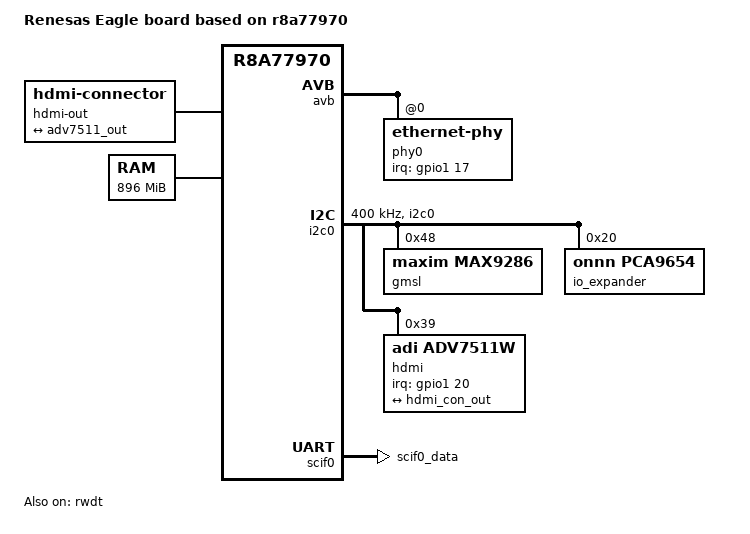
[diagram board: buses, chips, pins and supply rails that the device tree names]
/*
 * Device Tree Source for the Eagle board
 *
 * Copyright (C) 2016-2017 Renesas Electronics Corp.
 * Copyright (C) 2017 Cogent Embedded, Inc.
 *
 * This file is licensed under the terms of the GNU General Public License
 * version 2.  This program is licensed "as is" without any warranty of any
 * kind, whether express or implied.
 */

/dts-v1/;
#include "r8a77970.dtsi"
#include "r8a77970-eagle-expansion.dtsi"

/ {
	model = "Renesas Eagle board based on r8a77970";
	compatible = "renesas,eagle", "renesas,r8a77970";

	aliases {
		serial0 = &scif0;
		ethernet0 = &avb;
	};

	chosen {
		bootargs = "ignore_loglevel rw root=/dev/nfs ip=dhcp";
		stdout-path = "serial0:115200n8";
	};

	cec_clock: cec-clock {
		compatible = "fixed-clock";
		#clock-cells = <0>;
		clock-frequency = <12000000>;
	};

	hdmi-out {
		compatible = "hdmi-connector";
		type = "a";

		port {
			hdmi_con_out: endpoint {
				remote-endpoint = <&adv7511_out>;
			};
		};
	};

	memory@48000000 {
		device_type = "memory";
		/* first 128MB is reserved for secure area. */
		reg = <0x0 0x48000000 0x0 0x38000000>;
	};
};

&avb {
	renesas,no-ether-link;
	phy-handle = <&phy0>;
	status = "okay";

	phy0: ethernet-phy@0 {
		rxc-skew-ps = <1500>;
		reg = <0>;
		interrupt-parent = <&gpio1>;
		interrupts = <17 IRQ_TYPE_LEVEL_LOW>;
	};
};

&extal_clk {
	clock-frequency = <16666666>;
};

&extalr_clk {
	clock-frequency = <32768>;
};

&i2c0 {
	pinctrl-0 = <&i2c0_pins>;
	pinctrl-names = "default";

	status = "okay";
	clock-frequency = <400000>;

	gmsl: gmsl-deserializer@0 {
		compatible = "maxim,max9286";
		reg = <0x48>;

		#address-cells = <1>;
		#size-cells = <0>;

		ports {
			#address-cells = <1>;
			#size-cells = <0>;

			port@0 {
				reg = <0>;
				max9286_in0: endpoint {
				};
			};

			port@1 {
				reg = <1>;
				max9286_in1: endpoint {
				};
			};

			port@2 {
				reg = <2>;
				max9286_in2: endpoint {
				};
			};

			port@3 {
				reg = <3>;
				max9286_in3: endpoint {
				};
			};

			port@4 {
				reg = <4>;
				max9286_out0: endpoint {
					clock-lanes = <0>;
					data-lanes = <1 2 3 4>;
					//remote-endpoint = <&csi40_in>;
				};
			};
		};

		i2c@0 {
			#address-cells = <1>;
			#size-cells = <0>;
			reg = <0>;

			status = "disabled";
		};

		i2c@1 {
			#address-cells = <1>;
			#size-cells = <0>;
			reg = <1>;

			status = "disabled";
		};

		i2c@2 {
			#address-cells = <1>;
			#size-cells = <0>;
			reg = <2>;

			status = "disabled";
		};

		i2c@3 {
			#address-cells = <1>;
			#size-cells = <0>;
			reg = <3>;

			status = "disabled";
		};
	};

	io_expander: gpio@20 {
		compatible = "onnn,pca9654";
		reg = <0x20>;
		gpio-controller;
		#gpio-cells = <2>;
	};

	hdmi@39 {
		compatible = "adi,adv7511w";
		reg = <0x39>;
		interrupts-extended = <&gpio1 20 IRQ_TYPE_LEVEL_LOW>;
		clocks = <&cec_clock>;
		clock-names = "cec";

		adi,input-depth = <8>;
		adi,input-colorspace = "rgb";
		adi,input-clock = "1x";
		adi,input-style = <1>;
		adi,input-justification = "evenly";

		ports {
			#address-cells = <1>;
			#size-cells = <0>;

			port@0 {
				reg = <0>;
				adv7511_in: endpoint {
					/*
					 * An LVDS receiver (THC63LVD1024) connects the HDMI
					 * to the DU LVDS out
					 */
					/* remote-endpoint = <&du_out_lvds>; */
				};
			};

			port@1 {
				reg = <1>;
				adv7511_out: endpoint {
					remote-endpoint = <&hdmi_con_out>;
				};
			};
		};
	};
};

&pfc {
	i2c0_pins: i2c0 {
		groups = "i2c0";
		function = "i2c0";
	};

	scif0_pins: scif0 {
		groups = "scif0_data";
		function = "scif0";
	};
};

&rwdt {
	timeout-sec = <60>;
	status = "okay";
};

&scif0 {
	pinctrl-0 = <&scif0_pins>;
	pinctrl-names = "default";

	status = "okay";
};

/* FAKRA Overlay */
#include "eagle-fakra.dtsi"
